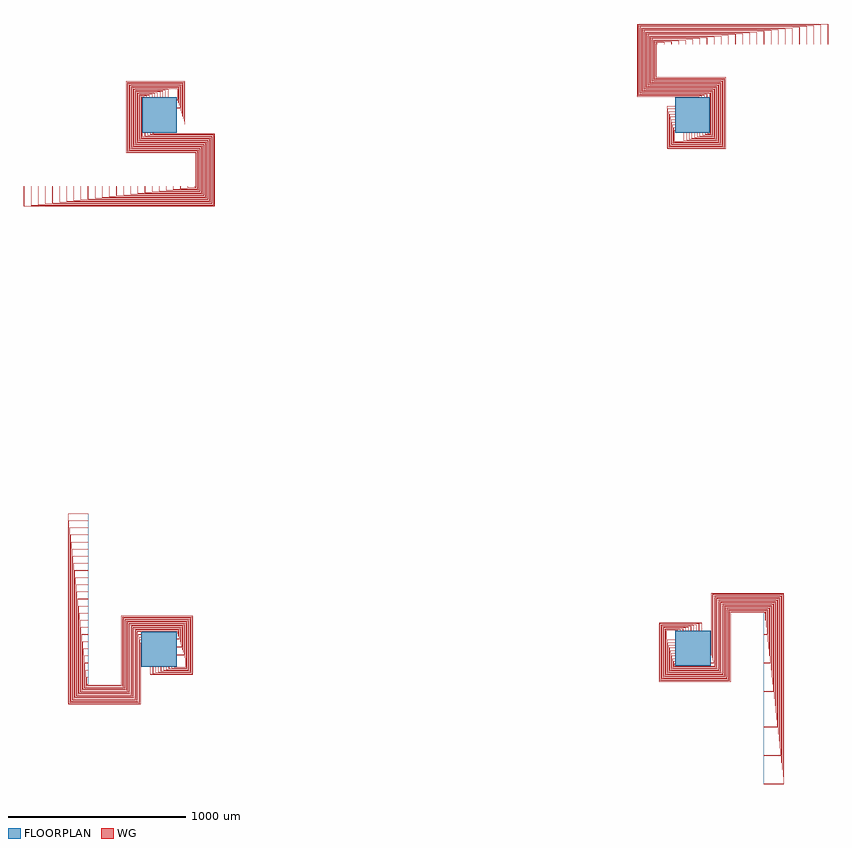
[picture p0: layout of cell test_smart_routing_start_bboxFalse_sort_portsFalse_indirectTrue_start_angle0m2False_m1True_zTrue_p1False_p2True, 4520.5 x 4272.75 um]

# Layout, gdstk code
import gdstk
lib = gdstk.Library(unit=1e-6, precision=1e-09)
def R(c, l, rs):  # rectangles x0, y0, x1, y1
    for r in rs: c.add(gdstk.rectangle(r[:2], r[2:], *l))
def P(c, l, *ps):  # polygons
    for p in ps: c.add(gdstk.Polygon(p, *l))
WG = (1, 0)
FLOORPLAN = (10, 0)

test_smart_routing_start = lib.new_cell('test_smart_routing_start_bboxFalse_sort_portsFalse_indirectTrue_start_angle0m2False_m1True_zTrue_p1False_p2True')
P(test_smart_routing_start, WG, [(-404.5,-204.75),(-404.5,-199.75),(-400,-199.75),(-400,-200.25),(-404,-200.25),(-404,-204.25),(-212.5,-204.25),(-212.5,185.25),(190,185.25),(190,-145),(-50.25,-145),(-50.25,-100),(-49.75,-100),(-49.75,-144.5),(189.5,-144.5),(189.5,184.75),(-212,184.75),(-212,-204.75)],
  [(-409,-209.25),(-409,-159.75),(-400,-159.75),(-400,-160.25),(-408.5,-160.25),(-408.5,-208.75),(-208,-208.75),(-208,180.75),(185.5,180.75),(185.5,-140.5),(-35.25,-140.5),(-35.25,-100),(-34.75,-100),(-34.75,-140),(185,-140),(185,180.25),(-207.5,180.25),(-207.5,-209.25)],
  [(-413.5,-213.75),(-413.5,-119.75),(-400,-119.75),(-400,-120.25),(-413,-120.25),(-413,-213.25),(-203.5,-213.25),(-203.5,176.25),(181,176.25),(181,-136),(-20.25,-136),(-20.25,-100),(-19.75,-100),(-19.75,-135.5),(180.5,-135.5),(180.5,175.75),(-203,175.75),(-203,-213.75)],
  [(-418,-218.25),(-418,-79.75),(-400,-79.75),(-400,-80.25),(-417.5,-80.25),(-417.5,-217.75),(-199,-217.75),(-199,171.75),(176.5,171.75),(176.5,-131.5),(-5.25,-131.5),(-5.25,-100),(-4.75,-100),(-4.75,-131),(176,-131),(176,171.25),(-198.5,171.25),(-198.5,-218.25)],
  [(-422.5,-222.75),(-422.5,-39.75),(-400,-39.75),(-400,-40.25),(-422,-40.25),(-422,-222.25),(-194.5,-222.25),(-194.5,167.25),(172,167.25),(172,-127),(9.75,-127),(9.75,-100),(10.25,-100),(10.25,-126.5),(171.5,-126.5),(171.5,166.75),(-194,166.75),(-194,-222.75)],
  [(-427,-227.25),(-427,0.25),(-400,0.25),(-400,-0.25),(-426.5,-0.25),(-426.5,-226.75),(-190,-226.75),(-190,162.75),(167.5,162.75),(167.5,-122.5),(24.75,-122.5),(24.75,-100),(25.25,-100),(25.25,-122),(167,-122),(167,162.25),(-189.5,162.25),(-189.5,-227.25)],
  [(-431.5,-231.75),(-431.5,40.25),(-400,40.25),(-400,39.75),(-431,39.75),(-431,-231.25),(-185.5,-231.25),(-185.5,158.25),(163,158.25),(163,-118),(39.75,-118),(39.75,-100),(40.25,-100),(40.25,-117.5),(162.5,-117.5),(162.5,157.75),(-185,157.75),(-185,-231.75)],
  [(-436,-236.25),(-436,80.25),(-400,80.25),(-400,79.75),(-435.5,79.75),(-435.5,-235.75),(-181,-235.75),(-181,153.75),(158.5,153.75),(158.5,-113.5),(54.75,-113.5),(54.75,-100),(55.25,-100),(55.25,-113),(158,-113),(158,153.25),(-180.5,153.25),(-180.5,-236.25)],
  [(-440.5,-240.75),(-440.5,120.25),(-400,120.25),(-400,119.75),(-440,119.75),(-440,-240.25),(-176.5,-240.25),(-176.5,149.25),(154,149.25),(154,-109),(69.75,-109),(69.75,-100),(70.25,-100),(70.25,-108.5),(153.5,-108.5),(153.5,148.75),(-176,148.75),(-176,-240.75)],
  [(-445,-245.25),(-445,160.25),(-400,160.25),(-400,159.75),(-444.5,159.75),(-444.5,-244.75),(-172,-244.75),(-172,144.75),(149.5,144.75),(149.5,-104.5),(84.75,-104.5),(84.75,-100),(85.25,-100),(85.25,-104),(149,-104),(149,144.25),(-171.5,144.25),(-171.5,-245.25)],
  [(-449.5,-249.75),(-449.5,200.25),(-400,200.25),(-400,199.75),(-449,199.75),(-449,-249.25),(-167.5,-249.25),(-167.5,140.25),(145,140.25),(145,-50.25),(100,-50.25),(100,-49.75),(144.5,-49.75),(144.5,139.75),(-167,139.75),(-167,-249.75)],
  [(-454,-254.25),(-454,240.25),(-400,240.25),(-400,239.75),(-453.5,239.75),(-453.5,-253.75),(-163,-253.75),(-163,135.75),(140.5,135.75),(140.5,-35.25),(100,-35.25),(100,-34.75),(140,-34.75),(140,135.25),(-162.5,135.25),(-162.5,-254.25)],
  [(-458.5,-258.75),(-458.5,280.25),(-400,280.25),(-400,279.75),(-458,279.75),(-458,-258.25),(-158.5,-258.25),(-158.5,131.25),(136,131.25),(136,-20.25),(100,-20.25),(100,-19.75),(135.5,-19.75),(135.5,130.75),(-158,130.75),(-158,-258.75)],
  [(-463,-263.25),(-463,320.25),(-400,320.25),(-400,319.75),(-462.5,319.75),(-462.5,-262.75),(-154,-262.75),(-154,126.75),(131.5,126.75),(131.5,-5.25),(100,-5.25),(100,-4.75),(131,-4.75),(131,126.25),(-153.5,126.25),(-153.5,-263.25)],
  [(-467.5,-267.75),(-467.5,360.25),(-400,360.25),(-400,359.75),(-467,359.75),(-467,-267.25),(-149.5,-267.25),(-149.5,122.25),(127,122.25),(127,9.75),(100,9.75),(100,10.25),(126.5,10.25),(126.5,121.75),(-149,121.75),(-149,-267.75)],
  [(-472,-272.25),(-472,400.25),(-400,400.25),(-400,399.75),(-471.5,399.75),(-471.5,-271.75),(-145,-271.75),(-145,117.75),(122.5,117.75),(122.5,24.75),(100,24.75),(100,25.25),(122,25.25),(122,117.25),(-144.5,117.25),(-144.5,-272.25)],
  [(-476.5,-276.75),(-476.5,440.25),(-400,440.25),(-400,439.75),(-476,439.75),(-476,-276.25),(-140.5,-276.25),(-140.5,113.25),(118,113.25),(118,39.75),(100,39.75),(100,40.25),(117.5,40.25),(117.5,112.75),(-140,112.75),(-140,-276.75)],
  [(-481,-281.25),(-481,480.25),(-400,480.25),(-400,479.75),(-480.5,479.75),(-480.5,-280.75),(-136,-280.75),(-136,108.75),(113.5,108.75),(113.5,54.75),(100,54.75),(100,55.25),(113,55.25),(113,108.25),(-135.5,108.25),(-135.5,-281.25)],
  [(-485.5,-285.75),(-485.5,520.25),(-400,520.25),(-400,519.75),(-485,519.75),(-485,-285.25),(-131.5,-285.25),(-131.5,104.25),(109,104.25),(109,69.75),(100,69.75),(100,70.25),(108.5,70.25),(108.5,103.75),(-131,103.75),(-131,-285.75)],
  [(-490,-290.25),(-490,560.25),(-400,560.25),(-400,559.75),(-489.5,559.75),(-489.5,-289.75),(-127,-289.75),(-127,99.75),(104.5,99.75),(104.5,84.75),(100,84.75),(100,85.25),(104,85.25),(104,99.25),(-126.5,99.25),(-126.5,-290.25)],
  [(-512.5,-312.75),(-512.5,760.25),(-400,760.25),(-400,759.75),(-512,759.75),(-512,-312.25),(-104.5,-312.25),(-104.5,35.25),(-100,35.25),(-100,34.75),(-104,34.75),(-104,-312.75)],
  [(-508,-308.25),(-508,720.25),(-400,720.25),(-400,719.75),(-507.5,719.75),(-507.5,-307.75),(-109,-307.75),(-109,50.25),(-100,50.25),(-100,49.75),(-108.5,49.75),(-108.5,-308.25)],
  [(-503.5,-303.75),(-503.5,680.25),(-400,680.25),(-400,679.75),(-503,679.75),(-503,-303.25),(-113.5,-303.25),(-113.5,65.25),(-100,65.25),(-100,64.75),(-113,64.75),(-113,-303.75)],
  [(-499,-299.25),(-499,640.25),(-400,640.25),(-400,639.75),(-498.5,639.75),(-498.5,-298.75),(-118,-298.75),(-118,80.25),(-100,80.25),(-100,79.75),(-117.5,79.75),(-117.5,-299.25)],
  [(-494.5,-294.75),(-494.5,600.25),(-400,600.25),(-400,599.75),(-494,599.75),(-494,-294.25),(-122.5,-294.25),(-122.5,95.25),(-100,95.25),(-100,94.75),(-122,94.75),(-122,-294.75)],
  [(199.75,2595.5),(199.75,2600),(200.25,2600),(200.25,2596),(204.25,2596),(204.25,2787.5),(-185.25,2787.5),(-185.25,3190),(145,3190),(145,2949.75),(100,2949.75),(100,2950.25),(144.5,2950.25),(144.5,3189.5),(-184.75,3189.5),(-184.75,2788),(204.75,2788),(204.75,2595.5)],
  [(159.75,2591),(159.75,2600),(160.25,2600),(160.25,2591.5),(208.75,2591.5),(208.75,2792),(-180.75,2792),(-180.75,3185.5),(140.5,3185.5),(140.5,2964.75),(100,2964.75),(100,2965.25),(140,2965.25),(140,3185),(-180.25,3185),(-180.25,2792.5),(209.25,2792.5),(209.25,2591)],
  [(119.75,2586.5),(119.75,2600),(120.25,2600),(120.25,2587),(213.25,2587),(213.25,2796.5),(-176.25,2796.5),(-176.25,3181),(136,3181),(136,2979.75),(100,2979.75),(100,2980.25),(135.5,2980.25),(135.5,3180.5),(-175.75,3180.5),(-175.75,2797),(213.75,2797),(213.75,2586.5)],
  [(79.75,2582),(79.75,2600),(80.25,2600),(80.25,2582.5),(217.75,2582.5),(217.75,2801),(-171.75,2801),(-171.75,3176.5),(131.5,3176.5),(131.5,2994.75),(100,2994.75),(100,2995.25),(131,2995.25),(131,3176),(-171.25,3176),(-171.25,2801.5),(218.25,2801.5),(218.25,2582)],
  [(39.75,2577.5),(39.75,2600),(40.25,2600),(40.25,2578),(222.25,2578),(222.25,2805.5),(-167.25,2805.5),(-167.25,3172),(127,3172),(127,3009.75),(100,3009.75),(100,3010.25),(126.5,3010.25),(126.5,3171.5),(-166.75,3171.5),(-166.75,2806),(222.75,2806),(222.75,2577.5)],
  [(-0.25,2573),(-0.25,2600),(0.25,2600),(0.25,2573.5),(226.75,2573.5),(226.75,2810),(-162.75,2810),(-162.75,3167.5),(122.5,3167.5),(122.5,3024.75),(100,3024.75),(100,3025.25),(122,3025.25),(122,3167),(-162.25,3167),(-162.25,2810.5),(227.25,2810.5),(227.25,2573)],
  [(-40.25,2568.5),(-40.25,2600),(-39.75,2600),(-39.75,2569),(231.25,2569),(231.25,2814.5),(-158.25,2814.5),(-158.25,3163),(118,3163),(118,3039.75),(100,3039.75),(100,3040.25),(117.5,3040.25),(117.5,3162.5),(-157.75,3162.5),(-157.75,2815),(231.75,2815),(231.75,2568.5)],
  [(-80.25,2564),(-80.25,2600),(-79.75,2600),(-79.75,2564.5),(235.75,2564.5),(235.75,2819),(-153.75,2819),(-153.75,3158.5),(113.5,3158.5),(113.5,3054.75),(100,3054.75),(100,3055.25),(113,3055.25),(113,3158),(-153.25,3158),(-153.25,2819.5),(236.25,2819.5),(236.25,2564)],
  [(-120.25,2559.5),(-120.25,2600),(-119.75,2600),(-119.75,2560),(240.25,2560),(240.25,2823.5),(-149.25,2823.5),(-149.25,3154),(109,3154),(109,3069.75),(100,3069.75),(100,3070.25),(108.5,3070.25),(108.5,3153.5),(-148.75,3153.5),(-148.75,2824),(240.75,2824),(240.75,2559.5)],
  [(-160.25,2555),(-160.25,2600),(-159.75,2600),(-159.75,2555.5),(244.75,2555.5),(244.75,2828),(-144.75,2828),(-144.75,3149.5),(104.5,3149.5),(104.5,3084.75),(100,3084.75),(100,3085.25),(104,3085.25),(104,3149),(-144.25,3149),(-144.25,2828.5),(245.25,2828.5),(245.25,2555)],
  [(-200.25,2550.5),(-200.25,2600),(-199.75,2600),(-199.75,2551),(249.25,2551),(249.25,2832.5),(-140.25,2832.5),(-140.25,3145),(50.25,3145),(50.25,3100),(49.75,3100),(49.75,3144.5),(-139.75,3144.5),(-139.75,2833),(249.75,2833),(249.75,2550.5)],
  [(-240.25,2546),(-240.25,2600),(-239.75,2600),(-239.75,2546.5),(253.75,2546.5),(253.75,2837),(-135.75,2837),(-135.75,3140.5),(35.25,3140.5),(35.25,3100),(34.75,3100),(34.75,3140),(-135.25,3140),(-135.25,2837.5),(254.25,2837.5),(254.25,2546)],
  [(-280.25,2541.5),(-280.25,2600),(-279.75,2600),(-279.75,2542),(258.25,2542),(258.25,2841.5),(-131.25,2841.5),(-131.25,3136),(20.25,3136),(20.25,3100),(19.75,3100),(19.75,3135.5),(-130.75,3135.5),(-130.75,2842),(258.75,2842),(258.75,2541.5)],
  [(-320.25,2537),(-320.25,2600),(-319.75,2600),(-319.75,2537.5),(262.75,2537.5),(262.75,2846),(-126.75,2846),(-126.75,3131.5),(5.25,3131.5),(5.25,3100),(4.75,3100),(4.75,3131),(-126.25,3131),(-126.25,2846.5),(263.25,2846.5),(263.25,2537)],
  [(-360.25,2532.5),(-360.25,2600),(-359.75,2600),(-359.75,2533),(267.25,2533),(267.25,2850.5),(-122.25,2850.5),(-122.25,3127),(-9.75,3127),(-9.75,3100),(-10.25,3100),(-10.25,3126.5),(-121.75,3126.5),(-121.75,2851),(267.75,2851),(267.75,2532.5)],
  [(-400.25,2528),(-400.25,2600),(-399.75,2600),(-399.75,2528.5),(271.75,2528.5),(271.75,2855),(-117.75,2855),(-117.75,3122.5),(-24.75,3122.5),(-24.75,3100),(-25.25,3100),(-25.25,3122),(-117.25,3122),(-117.25,2855.5),(272.25,2855.5),(272.25,2528)],
  [(-440.25,2523.5),(-440.25,2600),(-439.75,2600),(-439.75,2524),(276.25,2524),(276.25,2859.5),(-113.25,2859.5),(-113.25,3118),(-39.75,3118),(-39.75,3100),(-40.25,3100),(-40.25,3117.5),(-112.75,3117.5),(-112.75,2860),(276.75,2860),(276.75,2523.5)],
  [(-480.25,2519),(-480.25,2600),(-479.75,2600),(-479.75,2519.5),(280.75,2519.5),(280.75,2864),(-108.75,2864),(-108.75,3113.5),(-54.75,3113.5),(-54.75,3100),(-55.25,3100),(-55.25,3113),(-108.25,3113),(-108.25,2864.5),(281.25,2864.5),(281.25,2519)],
  [(-520.25,2514.5),(-520.25,2600),(-519.75,2600),(-519.75,2515),(285.25,2515),(285.25,2868.5),(-104.25,2868.5),(-104.25,3109),(-69.75,3109),(-69.75,3100),(-70.25,3100),(-70.25,3108.5),(-103.75,3108.5),(-103.75,2869),(285.75,2869),(285.75,2514.5)],
  [(-560.25,2510),(-560.25,2600),(-559.75,2600),(-559.75,2510.5),(289.75,2510.5),(289.75,2873),(-99.75,2873),(-99.75,3104.5),(-84.75,3104.5),(-84.75,3100),(-85.25,3100),(-85.25,3104),(-99.25,3104),(-99.25,2873.5),(290.25,2873.5),(290.25,2510)],
  [(-760.25,2487.5),(-760.25,2600),(-759.75,2600),(-759.75,2488),(312.25,2488),(312.25,2895.5),(-35.25,2895.5),(-35.25,2900),(-34.75,2900),(-34.75,2896),(312.75,2896),(312.75,2487.5)],
  [(-720.25,2492),(-720.25,2600),(-719.75,2600),(-719.75,2492.5),(307.75,2492.5),(307.75,2891),(-50.25,2891),(-50.25,2900),(-49.75,2900),(-49.75,2891.5),(308.25,2891.5),(308.25,2492)],
  [(-680.25,2496.5),(-680.25,2600),(-679.75,2600),(-679.75,2497),(303.25,2497),(303.25,2886.5),(-65.25,2886.5),(-65.25,2900),(-64.75,2900),(-64.75,2887),(303.75,2887),(303.75,2496.5)],
  [(-640.25,2501),(-640.25,2600),(-639.75,2600),(-639.75,2501.5),(298.75,2501.5),(298.75,2882),(-80.25,2882),(-80.25,2900),(-79.75,2900),(-79.75,2882.5),(299.25,2882.5),(299.25,2501)],
  [(-600.25,2505.5),(-600.25,2600),(-599.75,2600),(-599.75,2506),(294.25,2506),(294.25,2877.5),(-95.25,2877.5),(-95.25,2900),(-94.75,2900),(-94.75,2878),(294.75,2878),(294.75,2505.5)],
  [(2810,-185.25),(2810,145),(3050.25,145),(3050.25,100),(3049.75,100),(3049.75,144.5),(2810.5,144.5),(2810.5,-184.75),(3212,-184.75),(3212,204.75),(3404.5,204.75),(3404.5,199.75),(3400,199.75),(3400,200.25),(3404,200.25),(3404,204.25),(3212.5,204.25),(3212.5,-185.25)],
  [(2814.5,-180.75),(2814.5,140.5),(3035.25,140.5),(3035.25,100),(3034.75,100),(3034.75,140),(2815,140),(2815,-180.25),(3207.5,-180.25),(3207.5,209.25),(3409,209.25),(3409,159.75),(3400,159.75),(3400,160.25),(3408.5,160.25),(3408.5,208.75),(3208,208.75),(3208,-180.75)],
  [(2819,-176.25),(2819,136),(3020.25,136),(3020.25,100),(3019.75,100),(3019.75,135.5),(2819.5,135.5),(2819.5,-175.75),(3203,-175.75),(3203,213.75),(3413.5,213.75),(3413.5,119.75),(3400,119.75),(3400,120.25),(3413,120.25),(3413,213.25),(3203.5,213.25),(3203.5,-176.25)],
  [(2823.5,-171.75),(2823.5,131.5),(3005.25,131.5),(3005.25,100),(3004.75,100),(3004.75,131),(2824,131),(2824,-171.25),(3198.5,-171.25),(3198.5,218.25),(3418,218.25),(3418,79.75),(3400,79.75),(3400,80.25),(3417.5,80.25),(3417.5,217.75),(3199,217.75),(3199,-171.75)],
  [(2828,-167.25),(2828,127),(2990.25,127),(2990.25,100),(2989.75,100),(2989.75,126.5),(2828.5,126.5),(2828.5,-166.75),(3194,-166.75),(3194,222.75),(3422.5,222.75),(3422.5,39.75),(3400,39.75),(3400,40.25),(3422,40.25),(3422,222.25),(3194.5,222.25),(3194.5,-167.25)],
  [(2832.5,-162.75),(2832.5,122.5),(2975.25,122.5),(2975.25,100),(2974.75,100),(2974.75,122),(2833,122),(2833,-162.25),(3189.5,-162.25),(3189.5,227.25),(3427,227.25),(3427,-0.25),(3400,-0.25),(3400,0.25),(3426.5,0.25),(3426.5,226.75),(3190,226.75),(3190,-162.75)],
  [(2837,-158.25),(2837,118),(2960.25,118),(2960.25,100),(2959.75,100),(2959.75,117.5),(2837.5,117.5),(2837.5,-157.75),(3185,-157.75),(3185,231.75),(3431.5,231.75),(3431.5,-40.25),(3400,-40.25),(3400,-39.75),(3431,-39.75),(3431,231.25),(3185.5,231.25),(3185.5,-158.25)],
  [(2841.5,-153.75),(2841.5,113.5),(2945.25,113.5),(2945.25,100),(2944.75,100),(2944.75,113),(2842,113),(2842,-153.25),(3180.5,-153.25),(3180.5,236.25),(3436,236.25),(3436,-80.25),(3400,-80.25),(3400,-79.75),(3435.5,-79.75),(3435.5,235.75),(3181,235.75),(3181,-153.75)],
  [(2846,-149.25),(2846,109),(2930.25,109),(2930.25,100),(2929.75,100),(2929.75,108.5),(2846.5,108.5),(2846.5,-148.75),(3176,-148.75),(3176,240.75),(3440.5,240.75),(3440.5,-120.25),(3400,-120.25),(3400,-119.75),(3440,-119.75),(3440,240.25),(3176.5,240.25),(3176.5,-149.25)],
  [(3400,-160.25),(3400,-159.75),(3444.5,-159.75),(3444.5,244.75),(3172,244.75),(3172,-144.75),(2850.5,-144.75),(2850.5,104.5),(2915.25,104.5),(2915.25,100),(2914.75,100),(2914.75,104),(2851,104),(2851,-144.25),(3171.5,-144.25),(3171.5,245.25),(3445,245.25),(3445,-160.25)],
  [(3400,-200.25),(3400,-199.75),(3449,-199.75),(3449,249.25),(3167.5,249.25),(3167.5,-140.25),(2855,-140.25),(2855,50.25),(2900,50.25),(2900,49.75),(2855.5,49.75),(2855.5,-139.75),(3167,-139.75),(3167,249.75),(3449.5,249.75),(3449.5,-200.25)],
  [(3400,-240.25),(3400,-239.75),(3453.5,-239.75),(3453.5,253.75),(3163,253.75),(3163,-135.75),(2859.5,-135.75),(2859.5,35.25),(2900,35.25),(2900,34.75),(2860,34.75),(2860,-135.25),(3162.5,-135.25),(3162.5,254.25),(3454,254.25),(3454,-240.25)],
  [(3400,-280.25),(3400,-279.75),(3458,-279.75),(3458,258.25),(3158.5,258.25),(3158.5,-131.25),(2864,-131.25),(2864,20.25),(2900,20.25),(2900,19.75),(2864.5,19.75),(2864.5,-130.75),(3158,-130.75),(3158,258.75),(3458.5,258.75),(3458.5,-280.25)],
  [(3400,-320.25),(3400,-319.75),(3462.5,-319.75),(3462.5,262.75),(3154,262.75),(3154,-126.75),(2868.5,-126.75),(2868.5,5.25),(2900,5.25),(2900,4.75),(2869,4.75),(2869,-126.25),(3153.5,-126.25),(3153.5,263.25),(3463,263.25),(3463,-320.25)],
  [(3400,-360.25),(3400,-359.75),(3467,-359.75),(3467,267.25),(3149.5,267.25),(3149.5,-122.25),(2873,-122.25),(2873,-9.75),(2900,-9.75),(2900,-10.25),(2873.5,-10.25),(2873.5,-121.75),(3149,-121.75),(3149,267.75),(3467.5,267.75),(3467.5,-360.25)],
  [(3400,-400.25),(3400,-399.75),(3471.5,-399.75),(3471.5,271.75),(3145,271.75),(3145,-117.75),(2877.5,-117.75),(2877.5,-24.75),(2900,-24.75),(2900,-25.25),(2878,-25.25),(2878,-117.25),(3144.5,-117.25),(3144.5,272.25),(3472,272.25),(3472,-400.25)],
  [(3400,-440.25),(3400,-439.75),(3476,-439.75),(3476,276.25),(3140.5,276.25),(3140.5,-113.25),(2882,-113.25),(2882,-39.75),(2900,-39.75),(2900,-40.25),(2882.5,-40.25),(2882.5,-112.75),(3140,-112.75),(3140,276.75),(3476.5,276.75),(3476.5,-440.25)],
  [(3400,-480.25),(3400,-479.75),(3480.5,-479.75),(3480.5,280.75),(3136,280.75),(3136,-108.75),(2886.5,-108.75),(2886.5,-54.75),(2900,-54.75),(2900,-55.25),(2887,-55.25),(2887,-108.25),(3135.5,-108.25),(3135.5,281.25),(3481,281.25),(3481,-480.25)],
  [(3400,-520.25),(3400,-519.75),(3485,-519.75),(3485,285.25),(3131.5,285.25),(3131.5,-104.25),(2891,-104.25),(2891,-69.75),(2900,-69.75),(2900,-70.25),(2891.5,-70.25),(2891.5,-103.75),(3131,-103.75),(3131,285.75),(3485.5,285.75),(3485.5,-520.25)],
  [(3400,-560.25),(3400,-559.75),(3489.5,-559.75),(3489.5,289.75),(3127,289.75),(3127,-99.75),(2895.5,-99.75),(2895.5,-84.75),(2900,-84.75),(2900,-85.25),(2896,-85.25),(2896,-99.25),(3126.5,-99.25),(3126.5,290.25),(3490,290.25),(3490,-560.25)],
  [(3400,-760.25),(3400,-759.75),(3512,-759.75),(3512,312.25),(3104.5,312.25),(3104.5,-35.25),(3100,-35.25),(3100,-34.75),(3104,-34.75),(3104,312.75),(3512.5,312.75),(3512.5,-760.25)],
  [(3400,-720.25),(3400,-719.75),(3507.5,-719.75),(3507.5,307.75),(3109,307.75),(3109,-50.25),(3100,-50.25),(3100,-49.75),(3108.5,-49.75),(3108.5,308.25),(3508,308.25),(3508,-720.25)],
  [(3400,-680.25),(3400,-679.75),(3503,-679.75),(3503,303.25),(3113.5,303.25),(3113.5,-65.25),(3100,-65.25),(3100,-64.75),(3113,-64.75),(3113,303.75),(3503.5,303.75),(3503.5,-680.25)],
  [(3400,-640.25),(3400,-639.75),(3498.5,-639.75),(3498.5,298.75),(3118,298.75),(3118,-80.25),(3100,-80.25),(3100,-79.75),(3117.5,-79.75),(3117.5,299.25),(3499,299.25),(3499,-640.25)],
  [(3400,-600.25),(3400,-599.75),(3494,-599.75),(3494,294.25),(3122.5,294.25),(3122.5,-95.25),(3100,-95.25),(3100,-94.75),(3122,-94.75),(3122,294.75),(3494.5,294.75),(3494.5,-600.25)],
  [(2855,2810),(2855,3050.25),(2900,3050.25),(2900,3049.75),(2855.5,3049.75),(2855.5,2810.5),(3184.75,2810.5),(3184.75,3212),(2795.25,3212),(2795.25,3404.5),(2800.25,3404.5),(2800.25,3400),(2799.75,3400),(2799.75,3404),(2795.75,3404),(2795.75,3212.5),(3185.25,3212.5),(3185.25,2810)],
  [(2859.5,2814.5),(2859.5,3035.25),(2900,3035.25),(2900,3034.75),(2860,3034.75),(2860,2815),(3180.25,2815),(3180.25,3207.5),(2790.75,3207.5),(2790.75,3409),(2840.25,3409),(2840.25,3400),(2839.75,3400),(2839.75,3408.5),(2791.25,3408.5),(2791.25,3208),(3180.75,3208),(3180.75,2814.5)],
  [(2864,2819),(2864,3020.25),(2900,3020.25),(2900,3019.75),(2864.5,3019.75),(2864.5,2819.5),(3175.75,2819.5),(3175.75,3203),(2786.25,3203),(2786.25,3413.5),(2880.25,3413.5),(2880.25,3400),(2879.75,3400),(2879.75,3413),(2786.75,3413),(2786.75,3203.5),(3176.25,3203.5),(3176.25,2819)],
  [(2868.5,2823.5),(2868.5,3005.25),(2900,3005.25),(2900,3004.75),(2869,3004.75),(2869,2824),(3171.25,2824),(3171.25,3198.5),(2781.75,3198.5),(2781.75,3418),(2920.25,3418),(2920.25,3400),(2919.75,3400),(2919.75,3417.5),(2782.25,3417.5),(2782.25,3199),(3171.75,3199),(3171.75,2823.5)],
  [(2873,2828),(2873,2990.25),(2900,2990.25),(2900,2989.75),(2873.5,2989.75),(2873.5,2828.5),(3166.75,2828.5),(3166.75,3194),(2777.25,3194),(2777.25,3422.5),(2960.25,3422.5),(2960.25,3400),(2959.75,3400),(2959.75,3422),(2777.75,3422),(2777.75,3194.5),(3167.25,3194.5),(3167.25,2828)],
  [(2877.5,2832.5),(2877.5,2975.25),(2900,2975.25),(2900,2974.75),(2878,2974.75),(2878,2833),(3162.25,2833),(3162.25,3189.5),(2772.75,3189.5),(2772.75,3427),(3000.25,3427),(3000.25,3400),(2999.75,3400),(2999.75,3426.5),(2773.25,3426.5),(2773.25,3190),(3162.75,3190),(3162.75,2832.5)],
  [(2882,2837),(2882,2960.25),(2900,2960.25),(2900,2959.75),(2882.5,2959.75),(2882.5,2837.5),(3157.75,2837.5),(3157.75,3185),(2768.25,3185),(2768.25,3431.5),(3040.25,3431.5),(3040.25,3400),(3039.75,3400),(3039.75,3431),(2768.75,3431),(2768.75,3185.5),(3158.25,3185.5),(3158.25,2837)],
  [(2886.5,2841.5),(2886.5,2945.25),(2900,2945.25),(2900,2944.75),(2887,2944.75),(2887,2842),(3153.25,2842),(3153.25,3180.5),(2763.75,3180.5),(2763.75,3436),(3080.25,3436),(3080.25,3400),(3079.75,3400),(3079.75,3435.5),(2764.25,3435.5),(2764.25,3181),(3153.75,3181),(3153.75,2841.5)],
  [(2891,2846),(2891,2930.25),(2900,2930.25),(2900,2929.75),(2891.5,2929.75),(2891.5,2846.5),(3148.75,2846.5),(3148.75,3176),(2759.25,3176),(2759.25,3440.5),(3120.25,3440.5),(3120.25,3400),(3119.75,3400),(3119.75,3440),(2759.75,3440),(2759.75,3176.5),(3149.25,3176.5),(3149.25,2846)],
  [(2895.5,2850.5),(2895.5,2915.25),(2900,2915.25),(2900,2914.75),(2896,2914.75),(2896,2851),(3144.25,2851),(3144.25,3171.5),(2754.75,3171.5),(2754.75,3445),(3160.25,3445),(3160.25,3400),(3159.75,3400),(3159.75,3444.5),(2755.25,3444.5),(2755.25,3172),(3144.75,3172),(3144.75,2850.5)],
  [(2949.75,2855),(2949.75,2900),(2950.25,2900),(2950.25,2855.5),(3139.75,2855.5),(3139.75,3167),(2750.25,3167),(2750.25,3449.5),(3200.25,3449.5),(3200.25,3400),(3199.75,3400),(3199.75,3449),(2750.75,3449),(2750.75,3167.5),(3140.25,3167.5),(3140.25,2855)],
  [(2964.75,2859.5),(2964.75,2900),(2965.25,2900),(2965.25,2860),(3135.25,2860),(3135.25,3162.5),(2745.75,3162.5),(2745.75,3454),(3240.25,3454),(3240.25,3400),(3239.75,3400),(3239.75,3453.5),(2746.25,3453.5),(2746.25,3163),(3135.75,3163),(3135.75,2859.5)],
  [(2979.75,2864),(2979.75,2900),(2980.25,2900),(2980.25,2864.5),(3130.75,2864.5),(3130.75,3158),(2741.25,3158),(2741.25,3458.5),(3280.25,3458.5),(3280.25,3400),(3279.75,3400),(3279.75,3458),(2741.75,3458),(2741.75,3158.5),(3131.25,3158.5),(3131.25,2864)],
  [(2994.75,2868.5),(2994.75,2900),(2995.25,2900),(2995.25,2869),(3126.25,2869),(3126.25,3153.5),(2736.75,3153.5),(2736.75,3463),(3320.25,3463),(3320.25,3400),(3319.75,3400),(3319.75,3462.5),(2737.25,3462.5),(2737.25,3154),(3126.75,3154),(3126.75,2868.5)],
  [(3009.75,2873),(3009.75,2900),(3010.25,2900),(3010.25,2873.5),(3121.75,2873.5),(3121.75,3149),(2732.25,3149),(2732.25,3467.5),(3360.25,3467.5),(3360.25,3400),(3359.75,3400),(3359.75,3467),(2732.75,3467),(2732.75,3149.5),(3122.25,3149.5),(3122.25,2873)],
  [(3024.75,2877.5),(3024.75,2900),(3025.25,2900),(3025.25,2878),(3117.25,2878),(3117.25,3144.5),(2727.75,3144.5),(2727.75,3472),(3400.25,3472),(3400.25,3400),(3399.75,3400),(3399.75,3471.5),(2728.25,3471.5),(2728.25,3145),(3117.75,3145),(3117.75,2877.5)],
  [(3039.75,2882),(3039.75,2900),(3040.25,2900),(3040.25,2882.5),(3112.75,2882.5),(3112.75,3140),(2723.25,3140),(2723.25,3476.5),(3440.25,3476.5),(3440.25,3400),(3439.75,3400),(3439.75,3476),(2723.75,3476),(2723.75,3140.5),(3113.25,3140.5),(3113.25,2882)],
  [(3054.75,2886.5),(3054.75,2900),(3055.25,2900),(3055.25,2887),(3108.25,2887),(3108.25,3135.5),(2718.75,3135.5),(2718.75,3481),(3480.25,3481),(3480.25,3400),(3479.75,3400),(3479.75,3480.5),(2719.25,3480.5),(2719.25,3136),(3108.75,3136),(3108.75,2886.5)],
  [(3069.75,2891),(3069.75,2900),(3070.25,2900),(3070.25,2891.5),(3103.75,2891.5),(3103.75,3131),(2714.25,3131),(2714.25,3485.5),(3520.25,3485.5),(3520.25,3400),(3519.75,3400),(3519.75,3485),(2714.75,3485),(2714.75,3131.5),(3104.25,3131.5),(3104.25,2891)],
  [(3084.75,2895.5),(3084.75,2900),(3085.25,2900),(3085.25,2896),(3099.25,2896),(3099.25,3126.5),(2709.75,3126.5),(2709.75,3490),(3560.25,3490),(3560.25,3400),(3559.75,3400),(3559.75,3489.5),(2710.25,3489.5),(2710.25,3127),(3099.75,3127),(3099.75,2895.5)],
  [(3034.75,3100),(3034.75,3104),(2687.25,3104),(2687.25,3512.5),(3760.25,3512.5),(3760.25,3400),(3759.75,3400),(3759.75,3512),(2687.75,3512),(2687.75,3104.5),(3035.25,3104.5),(3035.25,3100)],
  [(3049.75,3100),(3049.75,3108.5),(2691.75,3108.5),(2691.75,3508),(3720.25,3508),(3720.25,3400),(3719.75,3400),(3719.75,3507.5),(2692.25,3507.5),(2692.25,3109),(3050.25,3109),(3050.25,3100)],
  [(3064.75,3100),(3064.75,3113),(2696.25,3113),(2696.25,3503.5),(3680.25,3503.5),(3680.25,3400),(3679.75,3400),(3679.75,3503),(2696.75,3503),(2696.75,3113.5),(3065.25,3113.5),(3065.25,3100)],
  [(3079.75,3100),(3079.75,3117.5),(2700.75,3117.5),(2700.75,3499),(3640.25,3499),(3640.25,3400),(3639.75,3400),(3639.75,3498.5),(2701.25,3498.5),(2701.25,3118),(3080.25,3118),(3080.25,3100)],
  [(3094.75,3100),(3094.75,3122),(2705.25,3122),(2705.25,3494.5),(3600.25,3494.5),(3600.25,3400),(3599.75,3400),(3599.75,3494),(2705.75,3494),(2705.75,3122.5),(3095.25,3122.5),(3095.25,3100)])
R(test_smart_routing_start, FLOORPLAN, [(-100,-100,100,95), (2900,-95,3100,100), (-95,2900,100,3100), (2900,2900,3095,3100)])
P(test_smart_routing_start, FLOORPLAN, [(-400,-200),(-400,760),(-400,760),(-400,-200)],
  [(-760,2600),(-760,2600),(200,2600),(200,2600)],
  [(3400,-760),(3400,200),(3400,200),(3400,-760)],
  [(2800,3400),(2800,3400),(3760,3400),(3760,3400)])

lib.write_gds('test_smart_routing_start_bboxFalse_sort_portsFalse_indirectTrue_start_angle0m2False_m1True_zTrue_p1False_p2True.gds')
